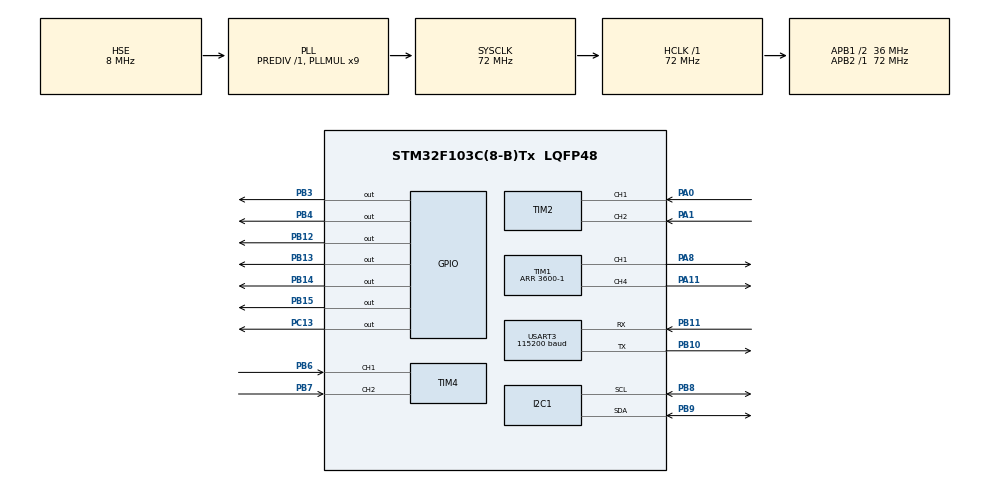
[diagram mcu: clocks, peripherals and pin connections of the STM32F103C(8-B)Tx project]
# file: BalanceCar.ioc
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Dma.Request0=USART3_TX
Dma.USART3_TX.0.Direction=DMA_MEMORY_TO_PERIPH
Dma.USART3_TX.0.Instance=DMA1_Channel2
Dma.USART3_TX.0.MemDataAlignment=DMA_MDATAALIGN_BYTE
Dma.USART3_TX.0.MemInc=DMA_MINC_ENABLE
Dma.USART3_TX.0.Mode=DMA_NORMAL
Dma.USART3_TX.0.PeriphDataAlignment=DMA_PDATAALIGN_BYTE
Dma.USART3_TX.0.PeriphInc=DMA_PINC_DISABLE
Dma.USART3_TX.0.Priority=DMA_PRIORITY_LOW
FREERTOS.Queues01=BtCmdQueue,16,Bt_Cmd_t*,0,Dynamic,NULL,NULL
FREERTOS.Tasks01=TaskDisplay,24,128,DisplayTask,As weak,NULL,Dynamic,NULL,NULL;TaskBalance,40,128,StartTaskBalance,As external,NULL,Dynamic,NULL,NULL;TaskBtCmd,24,128,StartBtCmd,As external,NULL,Dynamic,NULL,NULL
I2C1.I2C_Mode=I2C_Fast
Mcu.Family=STM32F1
Mcu.Name=STM32F103C(8-B)Tx
Mcu.Package=LQFP48
NVIC.DMA1_Channel2_IRQn=true\:5\:0\:false\:false\:true\:true\:false\:true\:true
NVIC.PriorityGroup=NVIC_PRIORITYGROUP_4
NVIC.TIM3_IRQn=true\:15\:0\:false\:false\:true\:false\:false\:true\:true
NVIC.TimeBase=TIM3_IRQn
NVIC.TimeBaseIP=TIM3
NVIC.USART3_IRQn=true\:5\:0\:false\:false\:true\:true\:true\:true\:true
PA0-WKUP.Signal=S_TIM2_CH1_ETR
PA1.Signal=S_TIM2_CH2
PA11.Signal=S_TIM1_CH4
PA13.Mode=Serial_Wire
PA13.Signal=SYS_JTMS-SWDIO
PA14.Mode=Serial_Wire
PA14.Signal=SYS_JTCK-SWCLK
PA8.Signal=S_TIM1_CH1
PB10.Mode=Asynchronous
PB10.Signal=USART3_TX
PB11.Mode=Asynchronous
PB11.Signal=USART3_RX
PB12.Signal=GPIO_Output
PB13.Signal=GPIO_Output
PB14.Signal=GPIO_Output
PB15.Signal=GPIO_Output
PB3.GPIO_ModeDefaultOutputPP=GPIO_MODE_OUTPUT_PP
PB3.GPIO_Speed=GPIO_SPEED_FREQ_HIGH
PB3.Signal=GPIO_Output
PB4.GPIO_ModeDefaultOutputPP=GPIO_MODE_OUTPUT_PP
PB4.GPIO_Speed=GPIO_SPEED_FREQ_HIGH
PB4.Signal=GPIO_Output
PB6.Signal=S_TIM4_CH1
PB7.Signal=S_TIM4_CH2
PB8.Mode=I2C
PB8.Signal=I2C1_SCL
PB9.Mode=I2C
PB9.Signal=I2C1_SDA
PC13-TAMPER-RTC.GPIO_ModeDefaultOutputPP=GPIO_MODE_OUTPUT_OD
PC13-TAMPER-RTC.GPIO_PuPd=GPIO_NOPULL
PC13-TAMPER-RTC.PinState=GPIO_PIN_SET
PC13-TAMPER-RTC.Signal=GPIO_Output
PD0-OSC_IN.Mode=HSE-External-Oscillator
PD0-OSC_IN.Signal=RCC_OSC_IN
PD1-OSC_OUT.Mode=HSE-External-Oscillator
PD1-OSC_OUT.Signal=RCC_OSC_OUT
ProjectManager.HeapSize=0x200
ProjectManager.StackSize=0x400
ProjectManager.TargetToolchain=MDK-ARM V5.32
RCC.AHBFreq_Value=72000000
RCC.APB1CLKDivider=RCC_HCLK_DIV2
RCC.APB1Freq_Value=36000000
RCC.APB1TimFreq_Value=72000000
RCC.APB2Freq_Value=72000000
RCC.APB2TimFreq_Value=72000000
RCC.HCLKFreq_Value=72000000
RCC.PLLMUL=RCC_PLL_MUL9
RCC.PLLSourceVirtual=RCC_PLLSOURCE_HSE
RCC.SYSCLKFreq_VALUE=72000000
RCC.SYSCLKSource=RCC_SYSCLKSOURCE_PLLCLK
RCC.USBFreq_Value=72000000
SH.S_TIM1_CH1.0=TIM1_CH1,PWM Generation1 CH1
SH.S_TIM1_CH4.0=TIM1_CH4,PWM Generation4 CH4
SH.S_TIM2_CH1_ETR.0=TIM2_CH1,Encoder_Interface
SH.S_TIM2_CH2.0=TIM2_CH2,Encoder_Interface
SH.S_TIM4_CH1.0=TIM4_CH1,Encoder_Interface
SH.S_TIM4_CH2.0=TIM4_CH2,Encoder_Interface
TIM1.Channel-PWM\ Generation1\ CH1=TIM_CHANNEL_1
TIM1.Channel-PWM\ Generation4\ CH4=TIM_CHANNEL_4
TIM1.Period=3600-1
TIM2.EncoderMode=TIM_ENCODERMODE_TI12
TIM4.EncoderMode=TIM_ENCODERMODE_TI12
USART3.BaudRate=115200
USART3.VirtualMode=VM_ASYNC
VP_FREERTOS_VS_CMSIS_V2.Mode=CMSIS_V2
VP_SYS_VS_tim3.Mode=TIM3
VP_TIM1_VS_ClockSourceINT.Mode=Internal
board=custom

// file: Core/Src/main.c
/* USER CODE BEGIN Header */
/**
  ******************************************************************************
  * @file           : main.c
  * @brief          : Main program body
  ******************************************************************************
  * @attention
  *
  * Copyright (c) 2026 STMicroelectronics.
  * All rights reserved.
  *
  * This software is licensed under terms that can be found in the LICENSE file
  * in the root directory of this software component.
  * If no LICENSE file comes with this software, it is provided AS-IS.
  *
  ******************************************************************************
  */
/* USER CODE END Header */
#include "main.h"
#include "cmsis_os.h"
#include "dma.h"
#include "i2c.h"
#include "tim.h"
#include "usart.h"
#include "gpio.h"

void SystemClock_Config(void);
void MX_FREERTOS_Init(void);

int main(void)
{

  /* MCU Configuration--------------------------------------------------------*/

  /* Reset of all peripherals, Initializes the Flash interface and the Systick. */
  HAL_Init();

  /* Configure the system clock */
  SystemClock_Config();

  /* Initialize all configured peripherals */
  MX_GPIO_Init();
  MX_DMA_Init();
  MX_I2C1_Init();
  MX_TIM1_Init();
  MX_TIM2_Init();
  MX_TIM4_Init();
  MX_USART3_UART_Init();

  /* Init scheduler */
  osKernelInitialize();  /* Call init function for freertos objects (in cmsis_os2.c) */
  MX_FREERTOS_Init();

  /* Start scheduler */
  osKernelStart();

  /* We should never get here as control is now taken by the scheduler */

  /* Infinite loop */
  while (1)
  {

  }
}

void SystemClock_Config(void)
{
  RCC_OscInitTypeDef RCC_OscInitStruct = {0};
  RCC_ClkInitTypeDef RCC_ClkInitStruct = {0};

  /** Initializes the RCC Oscillators according to the specified parameters
  * in the RCC_OscInitTypeDef structure.
  */
  RCC_OscInitStruct.OscillatorType = RCC_OSCILLATORTYPE_HSE;
  RCC_OscInitStruct.HSEState = RCC_HSE_ON;
  RCC_OscInitStruct.HSEPredivValue = RCC_HSE_PREDIV_DIV1;
  RCC_OscInitStruct.HSIState = RCC_HSI_ON;
  RCC_OscInitStruct.PLL.PLLState = RCC_PLL_ON;
  RCC_OscInitStruct.PLL.PLLSource = RCC_PLLSOURCE_HSE;
  RCC_OscInitStruct.PLL.PLLMUL = RCC_PLL_MUL9;
  if (HAL_RCC_OscConfig(&RCC_OscInitStruct) != HAL_OK)
  {
    Error_Handler();
  }

  /** Initializes the CPU, AHB and APB buses clocks
  */
  RCC_ClkInitStruct.ClockType = RCC_CLOCKTYPE_HCLK|RCC_CLOCKTYPE_SYSCLK
                              |RCC_CLOCKTYPE_PCLK1|RCC_CLOCKTYPE_PCLK2;
  RCC_ClkInitStruct.SYSCLKSource = RCC_SYSCLKSOURCE_PLLCLK;
  RCC_ClkInitStruct.AHBCLKDivider = RCC_SYSCLK_DIV1;
  RCC_ClkInitStruct.APB1CLKDivider = RCC_HCLK_DIV2;
  RCC_ClkInitStruct.APB2CLKDivider = RCC_HCLK_DIV1;

  if (HAL_RCC_ClockConfig(&RCC_ClkInitStruct, FLASH_LATENCY_2) != HAL_OK)
  {
    Error_Handler();
  }
}

void HAL_TIM_PeriodElapsedCallback(TIM_HandleTypeDef *htim)
{
  if (htim->Instance == TIM3)
  {
    HAL_IncTick();
  }
}

void Error_Handler(void)
{
  __disable_irq();
  while (1)
  {
  }
}

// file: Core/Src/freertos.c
/* USER CODE BEGIN Header */
/**
  ******************************************************************************
  * File Name          : freertos.c
  * Description        : Code for freertos applications
  ******************************************************************************
  * @attention
  *
  * Copyright (c) 2026 STMicroelectronics.
  * All rights reserved.
  *
  * This software is licensed under terms that can be found in the LICENSE file
  * in the root directory of this software component.
  * If no LICENSE file comes with this software, it is provided AS-IS.
  *
  ******************************************************************************
  */
/* USER CODE END Header */

#include "FreeRTOS.h"
#include "task.h"
#include "main.h"
#include "cmsis_os.h"

/* USER CODE BEGIN Includes */
#include "usart.h"
#include "tim.h"

#include "oled.h"
#include "mpu6050.h"

#include "Display.h"
#include "bluetooth.h"
/* USER CODE END Includes */

/* USER CODE BEGIN Variables */

//临时测试
void DWT_Init(void)
{
  CoreDebug->DEMCR |= CoreDebug_DEMCR_TRCENA_Msk;
  DWT->CYCCNT=0;
  DWT->CTRL |= DWT_CTRL_CYCCNTENA_Msk;
}
/* USER CODE END Variables */
/* Definitions for TaskDisplay */
osThreadId_t TaskDisplayHandle;
const osThreadAttr_t TaskDisplay_attributes = {
  .name = "TaskDisplay",
  .stack_size = 128 * 4,
  .priority = (osPriority_t) osPriorityNormal,
};
/* Definitions for TaskBalance */
osThreadId_t TaskBalanceHandle;
const osThreadAttr_t TaskBalance_attributes = {
  .name = "TaskBalance",
  .stack_size = 128 * 4,
  .priority = (osPriority_t) osPriorityHigh,
};
/* Definitions for TaskBtCmd */
osThreadId_t TaskBtCmdHandle;
const osThreadAttr_t TaskBtCmd_attributes = {
  .name = "TaskBtCmd",
  .stack_size = 128 * 4,
  .priority = (osPriority_t) osPriorityNormal,
};
/* Definitions for BtCmdQueue */
osMessageQueueId_t BtCmdQueueHandle;
const osMessageQueueAttr_t BtCmdQueue_attributes = {
  .name = "BtCmdQueue"
};

void DisplayTask(void *argument);
extern void StartTaskBalance(void *argument);
extern void StartBtCmd(void *argument);

void MX_FREERTOS_Init(void); /* (MISRA C 2004 rule 8.1) */

void MX_FREERTOS_Init(void) {
  /* USER CODE BEGIN Init */
  //OLED INIT
  OLED_Init();
  OLED_Clear();

  //MPU6050 INIT
  MPU_Init();

  //Motor PWM INIT
  HAL_TIM_PWM_Start(&htim1,TIM_CHANNEL_1);
  HAL_TIM_PWM_Start(&htim1,TIM_CHANNEL_4);

  //ENCODER INIT
  HAL_TIM_Encoder_Start(&htim2,TIM_CHANNEL_ALL);
  HAL_TIM_Encoder_Start(&htim4,TIM_CHANNEL_ALL);

  //UART INIT
  extern uint8_t databyte;
  UART_Start_Receive_IT(&huart3,&databyte,1);

  //临时测试
  #include "core_cm3.h"
  DWT_Init();

  /* USER CODE END Init */

  /* Create the queue(s) */
  /* creation of BtCmdQueue */
  BtCmdQueueHandle = osMessageQueueNew (16, sizeof(Bt_Cmd_t*), &BtCmdQueue_attributes);

  /* Create the thread(s) */
  /* creation of TaskDisplay */
  TaskDisplayHandle = osThreadNew(DisplayTask, NULL, &TaskDisplay_attributes);

  /* creation of TaskBalance */
  TaskBalanceHandle = osThreadNew(StartTaskBalance, NULL, &TaskBalance_attributes);

  /* creation of TaskBtCmd */
  TaskBtCmdHandle = osThreadNew(StartBtCmd, NULL, &TaskBtCmd_attributes);

}

__weak void DisplayTask(void *argument)
{
  for(;;)
  {
    osDelay(1);
  }
}
